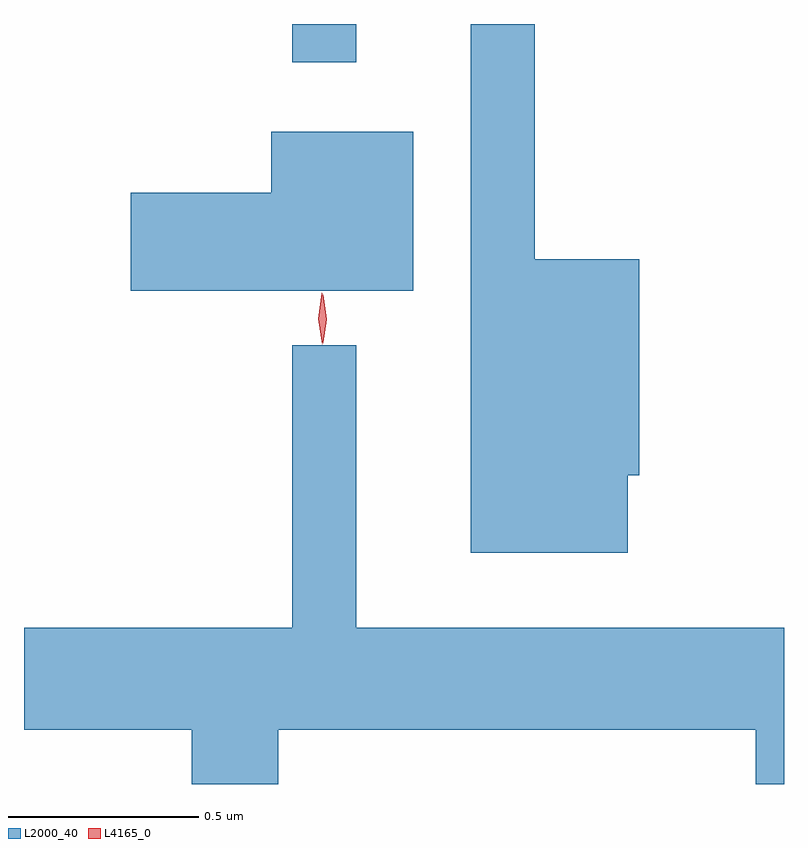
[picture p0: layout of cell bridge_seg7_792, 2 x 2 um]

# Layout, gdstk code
import gdstk
lib = gdstk.Library(unit=1e-6, precision=1e-09)
def R(c, l, rs):  # rectangles x0, y0, x1, y1
    for r in rs: c.add(gdstk.rectangle(r[:2], r[2:], *l))
def P(c, l, *ps):  # polygons
    for p in ps: c.add(gdstk.Polygon(p, *l))
L2000_40 = (2000, 40)
L4165_0 = (4165, 0)

bridge_seg7_792 = lib.new_cell('bridge_seg7_792')
R(bridge_seg7_792, L2000_40, [(461.771,1804.873,461.939,1804.973)])
P(bridge_seg7_792, L2000_40, [(462.654,1803.786),(462.684,1803.786),(462.684,1804.354),(462.409,1804.354),(462.409,1804.973),(462.241,1804.973),(462.241,1803.581),(462.654,1803.581)],
  [(462.089,1804.689),(461.716,1804.689),(461.716,1804.529),(461.346,1804.529),(461.346,1804.271),(462.089,1804.271)],
  [(461.734,1803.116),(462.991,1803.116),(462.991,1802.973),(463.065,1802.973),(463.065,1803.384),(461.939,1803.384),(461.939,1804.128),(461.771,1804.128),(461.771,1803.384),(461.065,1803.384),(461.065,1803.116),(461.506,1803.116),(461.506,1802.973),(461.734,1802.973)])
P(bridge_seg7_792, L4165_0, [(461.852,1804.133),(461.852,1804.134),(461.842,1804.196),(461.852,1804.26),(461.852,1804.26),(461.853,1804.26),(461.862,1804.196),(461.853,1804.134)],
  [(461.85,1804.13),(461.85,1804.13),(461.839,1804.198),(461.848,1804.265),(461.849,1804.266),(461.85,1804.265),(461.86,1804.198),(461.85,1804.13)])

lib.write_gds('bridge_seg7_792.gds')
